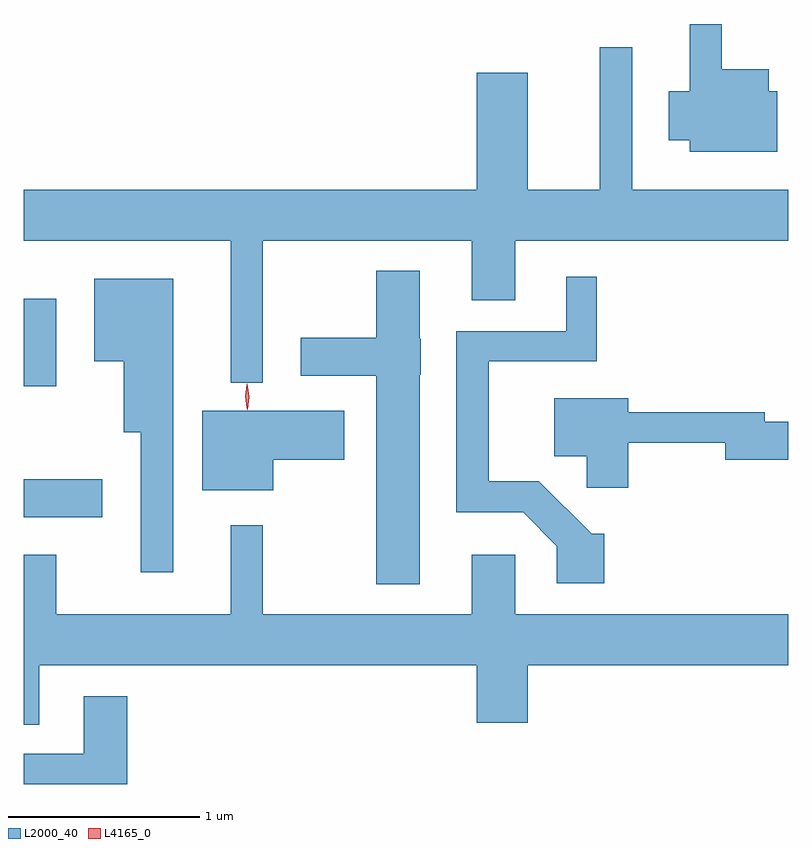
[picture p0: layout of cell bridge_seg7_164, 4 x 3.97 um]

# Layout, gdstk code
import gdstk
lib = gdstk.Library(unit=1e-6, precision=1e-09)
def R(c, l, rs):  # rectangles x0, y0, x1, y1
    for r in rs: c.add(gdstk.rectangle(r[:2], r[2:], *l))
def P(c, l, *ps):  # polygons
    for p in ps: c.add(gdstk.Polygon(p, *l))
L2000_40 = (2000, 40)
L4165_0 = (4165, 0)

bridge_seg7_164 = lib.new_cell('bridge_seg7_164')
R(bridge_seg7_164, L2000_40, [(1631.287,1717.311,1631.699,1717.509), (1631.287,1717.996,1631.459,1718.454)])
P(bridge_seg7_164, L2000_40, [(1635.229,1719.539),(1635.184,1719.539),(1635.184,1719.654),(1634.939,1719.654),(1634.939,1719.89),(1634.771,1719.89),(1634.771,1719.539),(1634.661,1719.539),(1634.661,1719.281),(1634.771,1719.281),(1634.771,1719.221),(1635.229,1719.221)],
  [(1632.539,1718.756),(1633.631,1718.756),(1633.631,1718.446),(1633.859,1718.446),(1633.859,1718.756),(1635.287,1718.756),(1635.287,1719.024),(1634.469,1719.024),(1634.469,1719.768),(1634.301,1719.768),(1634.301,1719.024),(1633.924,1719.024),(1633.924,1719.634),(1633.656,1719.634),(1633.656,1719.024),(1631.287,1719.024),(1631.287,1718.756),(1632.371,1718.756),(1632.371,1718.013),(1632.539,1718.013)],
  [(1633.359,1718.055),(1633.364,1718.055),(1633.364,1718.245),(1633.359,1718.245),(1633.359,1718.599),(1633.131,1718.599),(1633.131,1718.249),(1632.736,1718.249),(1632.736,1718.051),(1633.131,1718.051),(1633.131,1716.961),(1633.359,1716.961)],
  [(1634.324,1717.224),(1634.257,1717.224),(1633.982,1717.499),(1633.719,1717.499),(1633.719,1718.126),(1634.284,1718.126),(1634.284,1718.568),(1634.126,1718.568),(1634.126,1718.284),(1633.551,1718.284),(1633.551,1717.336),(1633.899,1717.336),(1634.076,1717.159),(1634.076,1716.966),(1634.324,1716.966)],
  [(1632.069,1718.559),(1631.656,1718.559),(1631.656,1718.126),(1631.811,1718.126),(1631.811,1717.756),(1631.901,1717.756),(1631.901,1717.023),(1632.069,1717.023)],
  [(1634.449,1717.701),(1634.956,1717.701),(1634.956,1717.611),(1635.287,1717.611),(1635.287,1717.809),(1635.164,1717.809),(1635.164,1717.859),(1634.449,1717.859),(1634.449,1717.934),(1634.061,1717.934),(1634.061,1717.631),(1634.231,1717.631),(1634.231,1717.466),(1634.449,1717.466)],
  [(1632.594,1717.611),(1632.964,1717.611),(1632.964,1717.869),(1632.221,1717.869),(1632.221,1717.451),(1632.594,1717.451)],
  [(1631.369,1716.536),(1633.656,1716.536),(1633.656,1716.236),(1633.924,1716.236),(1633.924,1716.536),(1635.287,1716.536),(1635.287,1716.804),(1633.859,1716.804),(1633.859,1717.114),(1633.631,1717.114),(1633.631,1716.804),(1632.539,1716.804),(1632.539,1717.268),(1632.371,1717.268),(1632.371,1716.804),(1631.459,1716.804),(1631.459,1717.114),(1631.287,1717.114),(1631.287,1716.226),(1631.369,1716.226)],
  [(1631.829,1716.374),(1631.601,1716.374),(1631.601,1716.074),(1631.287,1716.074),(1631.287,1715.916),(1631.829,1715.916)])
P(bridge_seg7_164, L4165_0, [(1632.458,1717.874),(1632.458,1717.874),(1632.448,1717.942),(1632.457,1718.01),(1632.458,1718.01),(1632.458,1718.01),(1632.468,1717.942),(1632.459,1717.874)],
  [(1632.456,1717.88),(1632.455,1717.881),(1632.446,1717.944),(1632.455,1718.006),(1632.455,1718.007),(1632.456,1718.006),(1632.465,1717.944),(1632.456,1717.881)])

lib.write_gds('bridge_seg7_164.gds')
